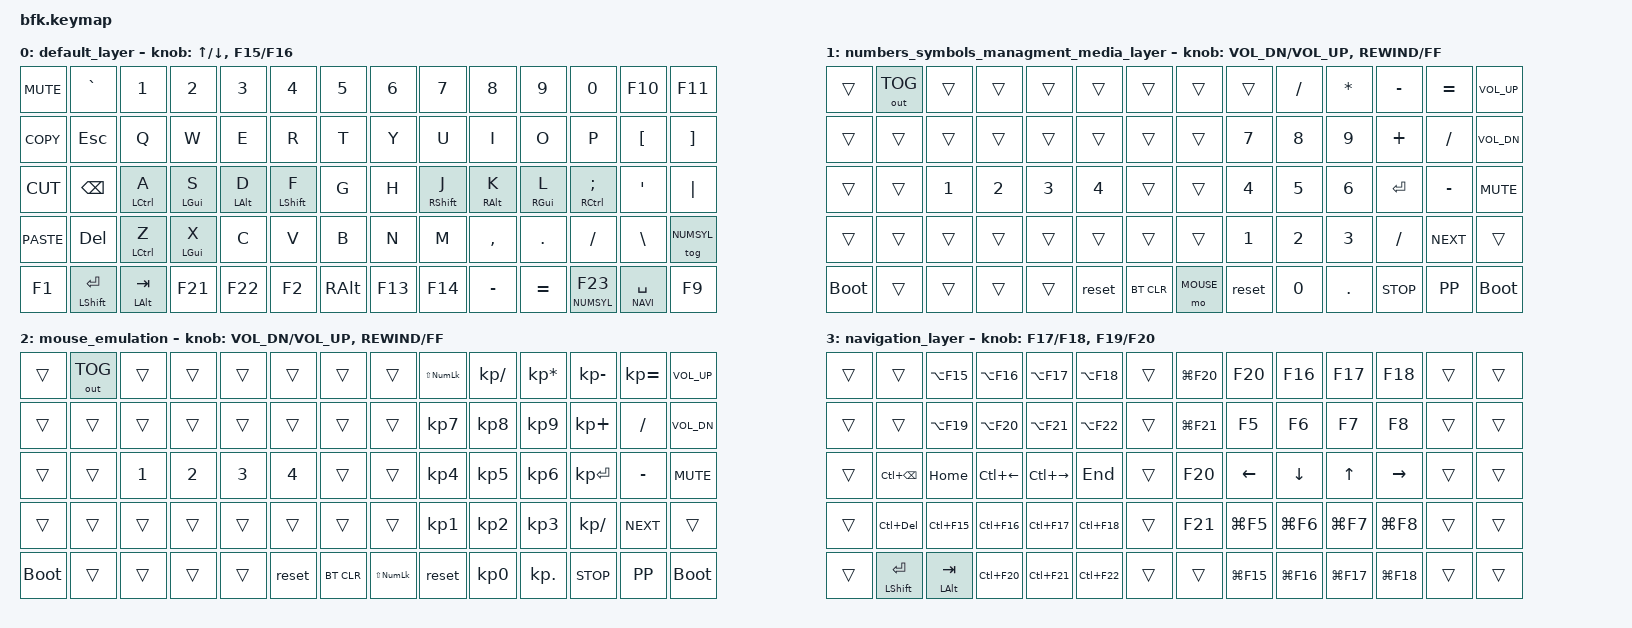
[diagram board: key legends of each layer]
#include <behaviors.dtsi>
#include <dt-bindings/zmk/keys.h>
#include <dt-bindings/zmk/bt.h>
#include <dt-bindings/zmk/outputs.h>

#define DEFAULT 0
#define NUMSYL  1
#define MOUSE   2
#define NAVI    3

/ {
    behaviors {
        hm: homerow_mods {
            compatible = "zmk,behavior-hold-tap";
            label = "HOMEROW_MODS";
            #binding-cells = <2>;
            tapping-term-ms = <175>;
            quick-tap-ms = <0>;
            flavor = "tap-preferred";
            bindings = <&kp>, <&kp>;
        };
        // sf: shift_mods {
        //     compatible = "zmk,behavior-hold-tap";
        //     label = "SHIFT_MODS";
        //     #binding-cells = <2>;
        //     tapping-term-ms = <200>;
        //     quick-tap-ms = <0>;
        //     flavor = "hold-preferred";
        //     bindings = <&kp>, <&kp>;
        // };
    };

    combos {
//             0                1                   2                3             4            5            6            7                 8                9                10              11               12               13
//             14               15                  16               17            18           19           20           21                22               23               24              25               26               27
//             28               29                  30               31            32           33           34           35                36               37               38              39               40               41
//             42               43                  44               45            46           47           48           49                50               51               52              53               54               55
        compatible = "zmk,combos";
        // combo_esc {
        //     timeout-ms = <9>;
        //     key-positions = <37 38>;
        //     bindings = <&kp ESCAPE>;
        // };
// NUMBERS
        combo_n1 {
            timeout-ms = <60>;
            key-positions = <16 30>;
            bindings = <&kp N1>;
        };
        combo_n2 {
            timeout-ms = <60>;
            key-positions = <17 31>;
            bindings = <&kp N2>;
        };
        combo_n3 {
            timeout-ms = <60>;
            key-positions = <18 32>;
            bindings = <&kp N3>;
        };
        combo_n4 {
            timeout-ms = <60>;
            key-positions = <19 33>;
            bindings = <&kp N4>;
        };
        combo_n5 {
            timeout-ms = <60>;
            key-positions = <20 34>;
            bindings = <&kp N5>;
        };
        combo_n6 {
            timeout-ms = <60>;
            key-positions = <21 35>;
            bindings = <&kp N6>;
        };
        combo_n7 {
            timeout-ms = <60>;
            key-positions = <22 36>;
            bindings = <&kp N7>;
        };
        combo_n8 {
            timeout-ms = <60>;
            key-positions = <23 37>;
            bindings = <&kp N8>;
        };
        combo_n9 {
            timeout-ms = <60>;
            key-positions = <24 38>;
            bindings = <&kp N9>;
        };
        combo_n0 {
            timeout-ms = <60>;
            key-positions = <25 39>;
            bindings = <&kp N0>;
        };
// SYMBOLS
        combo_exclemation {
            timeout-ms = <60>;
            key-positions = <30 44>;
            bindings = <&kp EXCLAMATION>;
        };
        combo_at {
            timeout-ms = <60>;
            key-positions = <31 45>;
            bindings = <&kp AT>;
        };
        combo_hash {
            timeout-ms = <60>;
            key-positions = <32 46>;
            bindings = <&kp POUND>;
        };
        combo_dollar {
            timeout-ms = <60>;
            key-positions = <33 47>;
            bindings = <&kp DOLLAR>;
        };
        combo_percent {
            timeout-ms = <60>;
            key-positions = <34 48>;
            bindings = <&kp PERCENT>;
        };
        combo_caret {
            timeout-ms = <60>;
            key-positions = <35 49>;
            bindings = <&kp CARET>;
        };
        combo_ampersand {
            timeout-ms = <60>;
            key-positions = <36 50>;
            bindings = <&kp AMPERSAND>;
        };
        combo_star {
            timeout-ms = <60>;
            key-positions = <37 51>;
            bindings = <&kp STAR>;
        };
        combo_parenthasisopen {
            timeout-ms = <60>;
            key-positions = <38 52>;
            bindings = <&kp LPAR>;
        };
        combo_parenthasisclose {
            timeout-ms = <60>;
            key-positions = <39 53>;
            bindings = <&kp RPAR>;
        };

    };

//             1                2                   3                4             5            6            7           |8             9                10              11              12                 13               14
// thumb       top              mid-closer          bot-closer       body-left     body-right   mid-far      bot-far     |bot-far       mid-far          body-left       body-right      bot-closer         mid-closer       top
// &kp K_MUTE       &kp GRAVE           &kp EXCLAMATION  &kp AT        &kp HASH     &kp DOLLAR   &kp PERCENT  &kp CARET         &kp AMPERSAND    &kp LPAR         &kp RPAR        &kp STAR           &kp PIPE         &kp F10
    keymap {
        compatible = "zmk,keymap";


        default_layer {
            bindings = <
               &kp K_MUTE       &kp GRAVE           &kp N1           &kp N2        &kp N3       &kp N4       &kp N5       &kp N6            &kp N7           &kp N8           &kp N9          &kp N0           &kp F10          &kp F11
               &kp K_COPY       &kp ESCAPE          &kp Q            &kp W         &kp E        &kp R        &kp T        &kp Y             &kp U            &kp I            &kp O           &kp P            &kp LBKT         &kp RBKT
               &kp K_CUT        &kp BSPC            &hm LCTRL A      &hm LGUI S    &hm LALT D   &hm LSHFT F  &kp G        &kp H             &hm RSHFT J      &hm RALT K       &hm RGUI L      &hm RCTRL SEMI   &kp SQT          &kp PIPE
               &kp K_PASTE      &kp DELETE          &hm LCTRL Z      &hm LGUI X    &kp C        &kp V        &kp B        &kp N             &kp M            &kp COMMA        &kp DOT         &kp SLASH        &kp BSLH         &tog NUMSYL
               &kp F1           &mt LSHFT ENTER     &mt LALT TAB     &kp F21       &kp F22      &kp F2       &kp RALT     &kp F13           &kp F14          &kp MINUS        &kp EQUAL       &lt NUMSYL F23   &lt NAVI SPACE   &kp F9
            >;
			sensor-bindings = <&inc_dec_kp UP DOWN &inc_dec_kp F15 F16>;
        };

        numbers_symbols_managment_media_layer {
            bindings = <
               &trans           &out OUT_TOG        &trans           &trans        &trans       &trans       &trans       &trans             &trans           &kp SLASH       &kp STAR        &kp MINUS         &kp EQUAL       &kp K_VOL_UP
               &trans           &trans              &trans           &trans        &trans       &trans       &trans       &trans             &kp N7           &kp N8          &kp N9          &kp PLUS          &kp SLASH       &kp K_VOL_DN
               &trans           &trans              &kp N1           &kp N2        &kp N3       &kp N4       &trans       &trans             &kp N4           &kp N5          &kp N6          &kp ENTER         &kp MINUS       &kp K_MUTE
               &trans           &trans              &trans           &trans        &trans       &trans       &trans       &trans             &kp N1           &kp N2          &kp N3          &kp SLASH         &kp K_NEXT      &trans
               &bootloader      &trans              &trans           &trans        &trans       &reset       &bt BT_CLR   &mo MOUSE          &reset           &kp N0          &kp DOT         &kp C_STOP        &kp K_PP        &bootloader
            >;
			sensor-bindings = <&inc_dec_kp K_VOL_DN K_VOL_UP &inc_dec_kp C_REWIND C_FF>;
        };

        mouse_emulation {
            bindings = <
               &trans           &out OUT_TOG        &trans           &trans        &trans       &trans       &trans       &trans             &kp LS(KP_NUMLOCK) &kp KP_SLASH  &kp KP_ASTERISK  &kp KP_MINUS     &kp KP_EQUAL     &kp K_VOL_UP
               &trans           &trans              &trans           &trans        &trans       &trans       &trans       &trans             &kp KP_N7        &kp KP_N8       &kp KP_N9        &kp KP_PLUS      &kp SLASH        &kp K_VOL_DN
               &trans           &trans              &kp N1           &kp N2        &kp N3       &kp N4       &trans       &trans             &kp KP_N4        &kp KP_N5       &kp KP_N6        &kp KP_ENTER     &kp MINUS        &kp K_MUTE
               &trans           &trans              &trans           &trans        &trans       &trans       &trans       &trans             &kp KP_N1        &kp KP_N2       &kp KP_N3        &kp KP_SLASH     &kp K_NEXT       &trans
               &bootloader      &trans              &trans           &trans        &trans       &reset       &bt BT_CLR   &kp LS(KP_NUMLOCK) &reset           &kp KP_N0       &kp KP_DOT       &kp C_STOP       &kp K_PP         &bootloader
            >;
			sensor-bindings = <&inc_dec_kp K_VOL_DN K_VOL_UP &inc_dec_kp C_REWIND C_FF>;
        };

        navigation_layer {
            bindings = <
                &trans          &trans              &kp LA(F15)      &kp LA(F16)   &kp LA(F17)   &kp LA(F18) &trans       &kp LG(F20)        &kp F20          &kp F16         &kp F17          &kp F18           &trans          &trans
                &trans          &trans              &kp LA(F19)      &kp LA(F20)   &kp LA(F21)   &kp LA(F22) &trans       &kp LG(F21)        &kp F5           &kp F6          &kp F7           &kp F8            &trans          &trans
                &trans          &kp LC(BSPC)        &kp HOME         &kp LC(LEFT)  &kp LC(RIGHT) &kp END     &trans       &kp F20            &kp LEFT         &kp DOWN        &kp UP           &kp RIGHT         &trans          &trans
                &trans          &kp LC(DELETE)      &kp LC(F15)      &kp LC(F16)   &kp LC(F17)   &kp LC(F18) &trans       &kp F21            &kp LG(F5)       &kp LG(F6)      &kp LG(F7)       &kp LG(F8)        &trans          &trans
                &trans          &mt LSHFT ENTER     &mt LALT TAB     &kp LC(F20)   &kp LC(F21)   &kp LC(F22) &trans       &trans             &kp LG(F15)      &kp LG(F16)     &kp LG(F17)      &kp LG(F18)       &trans          &trans
            >;
			sensor-bindings = <&inc_dec_kp F17 F18 &inc_dec_kp F19 F20>;
        };
    };
};
